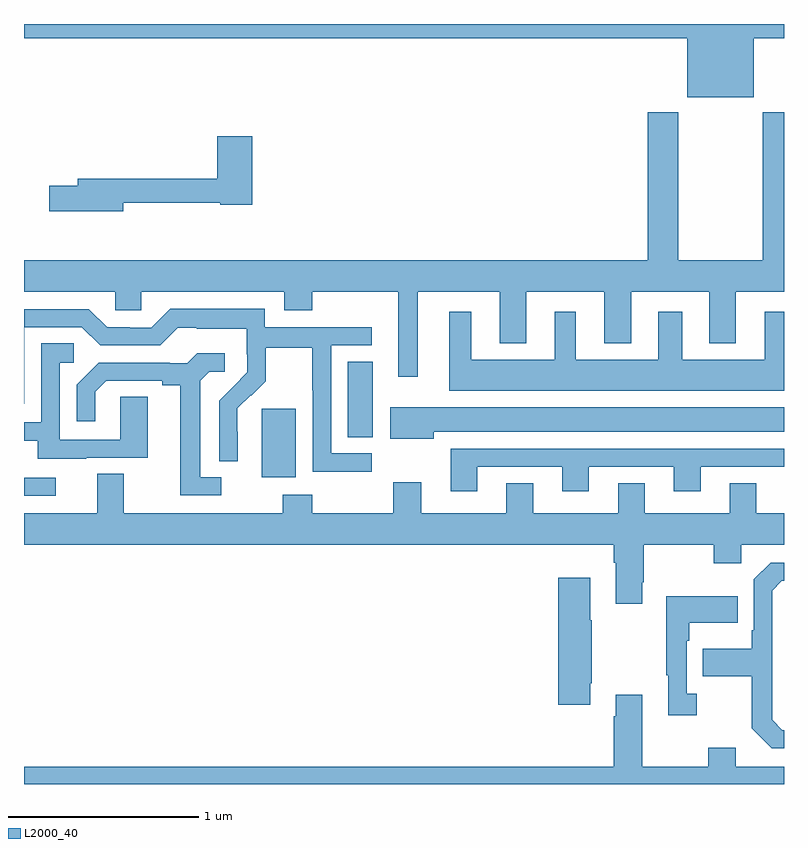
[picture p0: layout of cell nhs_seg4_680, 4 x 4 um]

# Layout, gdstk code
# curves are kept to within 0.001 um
import gdstk
lib = gdstk.Library(unit=1e-6, precision=1e-09)
def R(c, l, rs):  # rectangles x0, y0, x1, y1
    for r in rs: c.add(gdstk.rectangle(r[:2], r[2:], *l))
def P(c, l, *ps):  # polygons
    for p in ps: c.add(gdstk.Polygon(p, *l))
L2000_40 = (2000, 40)

nhs_seg4_680 = lib.new_cell('nhs_seg4_680')
R(nhs_seg4_680, L2000_40, [(145,790.416,145.168,790.512), (146.252,790.514,146.431,790.875), (146.705,790.726,146.836,791.123)])
P(nhs_seg4_680, L2000_40, [(148.84,792.824),(149,792.824),(149,792.9),(145,792.9),(145,792.824),(148.49,792.824),(148.49,792.515),(148.84,792.515)],
  [(147.073,791.492),(147.503,791.492),(147.503,791.219),(147.643,791.219),(147.643,791.492),(148.055,791.492),(148.055,791.219),(148.195,791.219),(148.195,791.492),(148.607,791.492),(148.607,791.219),(148.747,791.219),(148.747,791.492),(149,791.492),(149,792.436),(148.888,792.436),(148.888,791.656),(148.443,791.656),(148.443,792.436),(148.283,792.436),(148.283,791.656),(145,791.656),(145,791.492),(145.479,791.492),(145.479,791.394),(145.617,791.394),(145.617,791.492),(146.369,791.492),(146.369,791.393),(146.517,791.393),(146.517,791.492),(146.969,791.492),(146.969,791.043),(147.073,791.043)],
  [(145.522,791.958),(146.034,791.958),(146.034,791.95),(146.201,791.95),(146.201,792.31),(146.018,792.31),(146.018,792.086),(145.283,792.086),(145.283,792.05),(145.134,792.05),(145.134,791.915),(145.522,791.915)],
  [(146.83,790.641),(146.616,790.641),(146.616,791.208),(146.83,791.208),(146.83,791.304),(146.268,791.304),(146.268,791.401),(145.771,791.401),(145.671,791.301),(145.556,791.301),(145.556,791.304),(145.437,791.304),(145.341,791.4),(145,791.4),(145,790.902),(145.002,790.902),(145.002,791.304),(145.305,791.304),(145.401,791.208),(145.716,791.208),(145.809,791.301),(145.909,791.301),(145.909,791.297),(146.172,791.297),(146.172,791.163),(146.174,791.163),(146.174,791.066),(146.028,790.918),(146.028,790.6),(146.124,790.6),(146.123,790.877),(146.193,790.947),(146.196,790.944),(146.273,791.021),(146.273,791.196),(146.518,791.196),(146.518,790.972),(146.52,790.972),(146.52,790.543),(146.83,790.543)],
  [(149,791.386),(148.898,791.386),(148.898,791.134),(148.465,791.134),(148.465,791.386),(148.337,791.386),(148.337,791.134),(147.904,791.134),(147.904,791.386),(147.794,791.386),(147.794,791.134),(147.355,791.134),(147.355,791.386),(147.239,791.386),(147.239,790.97),(149,790.97)],
  [(145.327,790.617),(145.651,790.617),(145.651,790.937),(145.506,790.937),(145.506,790.713),(145.188,790.713),(145.188,791.118),(145.261,791.118),(145.261,791.219),(145.092,791.219),(145.092,790.803),(145,790.803),(145,790.707),(145.073,790.707),(145.073,790.613),(145.327,790.613)],
  [(146.038,790.515),(145.927,790.515),(145.927,791.023),(145.974,791.07),(146.056,791.07),(146.056,791.167),(145.912,791.167),(145.86,791.115),(145.766,791.115),(145.766,791.118),(145.394,791.118),(145.278,791.002),(145.278,790.809),(145.375,790.809),(145.375,790.965),(145.432,791.022),(145.727,791.022),(145.727,791),(145.823,791),(145.823,790.419),(146.038,790.419)],
  [(147.157,790.754),(149,790.754),(149,790.882),(146.928,790.882),(146.928,790.718),(147.157,790.718)],
  [(147.385,790.569),(147.833,790.569),(147.833,790.44),(147.973,790.44),(147.973,790.569),(148.421,790.569),(148.421,790.44),(148.561,790.44),(148.561,790.569),(149,790.569),(149,790.665),(147.245,790.665),(147.245,790.44),(147.385,790.44)],
  [(148.103,790.064),(148.115,790.064),(148.115,789.849),(148.255,789.849),(148.255,789.961),(148.263,789.961),(148.263,790.16),(148.63,790.16),(148.63,790.061),(148.776,790.061),(148.776,790.16),(149,790.16),(149,790.324),(148.855,790.324),(148.855,790.484),(148.715,790.484),(148.715,790.324),(148.267,790.324),(148.267,790.484),(148.127,790.484),(148.127,790.324),(147.679,790.324),(147.679,790.484),(147.539,790.484),(147.539,790.324),(147.091,790.324),(147.091,790.489),(146.944,790.489),(146.944,790.324),(146.517,790.324),(146.517,790.423),(146.362,790.423),(146.362,790.324),(145.525,790.324),(145.525,790.532),(145.385,790.532),(145.385,790.324),(145,790.324),(145,790.16),(148.103,790.16)],
  [(149,789.183),(148.992,789.183),(148.938,789.237),(148.938,789.918),(148.989,789.969),(149,789.969),(149,790.065),(148.929,790.065),(148.842,789.978),(148.842,789.709),(148.83,789.709),(148.83,789.613),(148.573,789.613),(148.573,789.466),(148.83,789.466),(148.83,789.193),(148.935,789.087),(149,789.087)],
  [(147.979,789.43),(147.987,789.43),(147.987,789.761),(147.979,789.761),(147.979,789.985),(147.812,789.985),(147.812,789.318),(147.979,789.318)],
  [(148.54,789.374),(148.488,789.374),(148.488,789.653),(148.501,789.653),(148.501,789.749),(148.757,789.749),(148.757,789.889),(148.38,789.889),(148.38,789.473),(148.391,789.473),(148.391,789.261),(148.54,789.261)],
  [(149,788.992),(148.747,788.992),(148.747,789.091),(148.6,789.091),(148.6,788.992),(148.255,788.992),(148.255,789.37),(148.115,789.37),(148.115,789.257),(148.103,789.257),(148.103,788.992),(145,788.992),(145,788.9),(149,788.9)])

lib.write_gds('nhs_seg4_680.gds')
